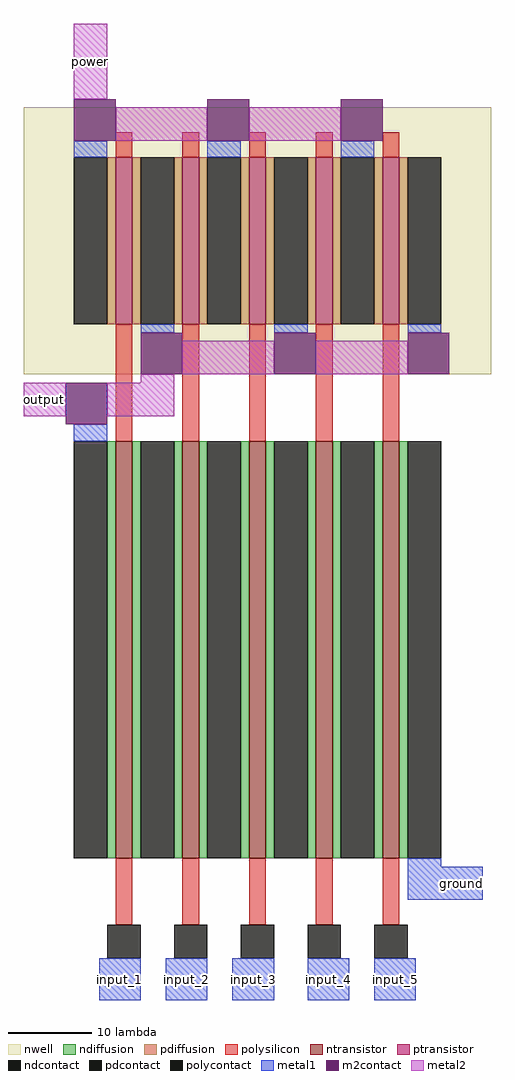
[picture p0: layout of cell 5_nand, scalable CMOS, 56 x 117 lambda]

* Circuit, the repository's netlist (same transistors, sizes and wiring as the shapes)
.include TSMC_180nm.txt

.param SUPPLY=1.8
.param LAMBDA=0.09u
.global gnd vdd

VDD vdd gnd SUPPLY
vinA A gnd PULSE(0 SUPPLY   20ns 1ps 1ps   20ns  40ns)
vinB B gnd PULSE(0 SUPPLY   10ns 1ps 1ps   10ns  20ns)
vinC C gnd PULSE(0 SUPPLY    5ns 1ps 1ps    5ns  10ns)
vinD D gnd PULSE(0 SUPPLY  2.5ns 1ps 1ps  2.5ns   5ns)
vinE E gnd PULSE(0 SUPPLY 1.25ns 1ps 1ps 1.25ns 2.5ns)

.option scale=90n

M1000 a_8_n73# C a_0_n73# gnd CMOSN w=50 l=2
+  ad=0.15n pd=56u as=0.15n ps=56u
M1001 a_n8_n73# A output gnd CMOSN w=50 l=2
+  ad=0.15n pd=56u as=0.25n ps=0.11m
M1002 a_16_n73# D a_8_n73# gnd CMOSN w=50 l=2
+  ad=0.15n pd=56u as=0.15n ps=56u
M1003 ground E a_16_n73# gnd CMOSN w=50 l=2
+  ad=0.25n pd=0.11m as=0.15n ps=56u
M1004 vdd D output w_n21_n15# CMOSP w=20 l=2
+  ad=60p pd=26u as=60p ps=26u
M1005 a_0_n73# B a_n8_n73# gnd CMOSN w=50 l=2
+  ad=0.15n pd=56u as=0.15n ps=56u
M1006 output A vdd w_n21_n15# CMOSP w=20 l=2
+  ad=60p pd=26u as=100p ps=50u
M1007 output C vdd w_n21_n15# CMOSP w=20 l=2
+  ad=60p pd=26u as=60p ps=26u
M1008 output E vdd w_n21_n15# CMOSP w=20 l=2
+  ad=100p pd=50u as=60p ps=26u
M1009 vdd B output w_n21_n15# CMOSP w=20 l=2
+  ad=60p pd=26u as=60p ps=26u



.tran 1n 80n 


.control

    run
    set curplottitle="2024102023_5_nand"
    plot v(A) v(B)+3 v(C)+6 v(D)+9 v(E)+12 v(output)+15
    
.endc
.end

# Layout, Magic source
magic
tech scmos
<< nwell >>
rect -21 -15 35 17
<< ntransistor >>
rect -10 -73 -8 -23
rect -2 -73 0 -23
rect 6 -73 8 -23
rect 14 -73 16 -23
rect 22 -73 24 -23
<< ptransistor >>
rect -10 -9 -8 11
rect -2 -9 0 11
rect 6 -9 8 11
rect 14 -9 16 11
rect 22 -9 24 11
<< ndiffusion >>
rect -11 -73 -10 -23
rect -8 -73 -7 -23
rect -3 -73 -2 -23
rect 0 -73 1 -23
rect 5 -73 6 -23
rect 8 -73 9 -23
rect 13 -73 14 -23
rect 16 -73 17 -23
rect 21 -73 22 -23
rect 24 -73 25 -23
<< pdiffusion >>
rect -11 -9 -10 11
rect -8 -9 -7 11
rect -3 -9 -2 11
rect 0 -9 1 11
rect 5 -9 6 11
rect 8 -9 9 11
rect 13 -9 14 11
rect 16 -9 17 11
rect 21 -9 22 11
rect 24 -9 25 11
<< ndcontact >>
rect -15 -73 -11 -23
rect -7 -73 -3 -23
rect 1 -73 5 -23
rect 9 -73 13 -23
rect 17 -73 21 -23
rect 25 -73 29 -23
<< pdcontact >>
rect -15 -9 -11 11
rect -7 -9 -3 11
rect 1 -9 5 11
rect 9 -9 13 11
rect 17 -9 21 11
rect 25 -9 29 11
<< polysilicon >>
rect -10 11 -8 14
rect -2 11 0 14
rect 6 11 8 14
rect 14 11 16 14
rect 22 11 24 14
rect -10 -23 -8 -9
rect -2 -23 0 -9
rect 6 -23 8 -9
rect 14 -23 16 -9
rect 22 -23 24 -9
rect -10 -81 -8 -73
rect -2 -81 0 -73
rect 6 -81 8 -73
rect 14 -81 16 -73
rect 22 -81 24 -73
<< polycontact >>
rect -11 -85 -7 -81
rect -3 -85 1 -81
rect 5 -85 9 -81
rect 13 -85 17 -81
rect 21 -85 25 -81
<< metal1 >>
rect -15 11 -11 13
rect 1 11 5 13
rect 17 11 21 13
rect -7 -10 -3 -9
rect 9 -10 13 -9
rect 25 -10 29 -9
rect -15 -23 -11 -21
rect 25 -74 29 -73
rect 25 -78 34 -74
rect -12 -90 -7 -85
rect -4 -90 1 -85
rect 4 -90 9 -85
rect 13 -90 18 -85
rect 21 -90 26 -85
<< m2contact >>
rect -15 13 -10 18
rect 1 13 6 18
rect 17 13 22 18
rect -7 -15 -2 -10
rect 9 -15 14 -10
rect 25 -15 30 -10
rect -16 -21 -11 -16
<< metal2 >>
rect -15 18 -11 27
rect -10 13 1 17
rect 6 13 17 17
rect -2 -15 9 -11
rect 14 -15 25 -11
rect -7 -16 -3 -15
rect -21 -20 -16 -16
rect -11 -20 -3 -16
<< labels >>
rlabel metal1 -12 -90 -7 -85 1 input_1
rlabel metal1 -4 -90 1 -85 1 input_2
rlabel metal1 4 -90 9 -85 1 input_3
rlabel metal1 13 -90 18 -85 1 input_4
rlabel metal1 21 -90 26 -85 1 input_5
rlabel metal1 29 -78 34 -74 7 ground
rlabel metal2 -21 -20 -16 -16 3 output
rlabel metal2 -15 18 -11 27 5 power
<< end >>
